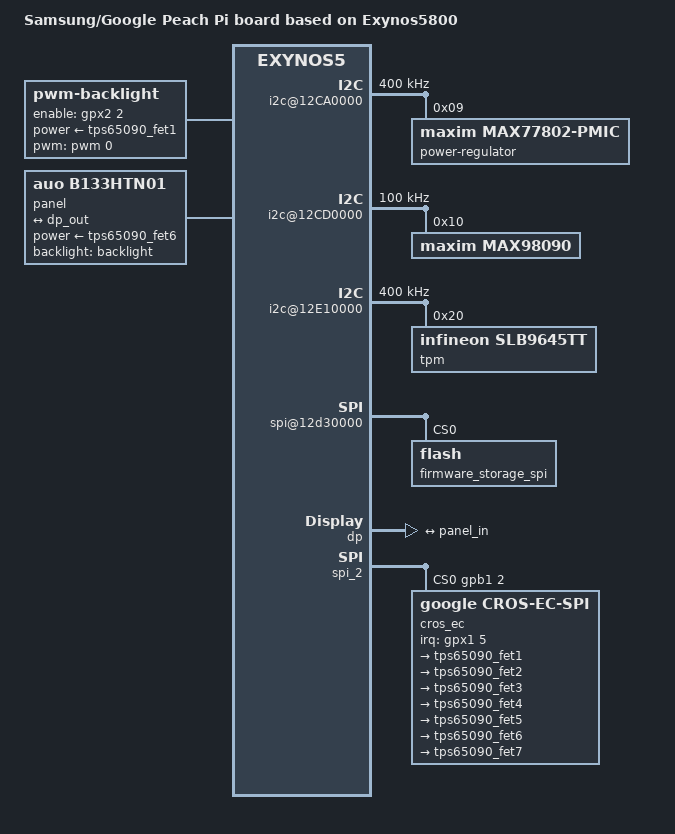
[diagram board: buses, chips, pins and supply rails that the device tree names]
// SPDX-License-Identifier: GPL-2.0+
/*
 * SAMSUNG/GOOGLE Peach-Pit board device tree source
 *
 * Copyright (c) 2013 Samsung Electronics Co., Ltd.
 *		http://www.samsung.com
 */

/dts-v1/;
#include "exynos54xx.dtsi"

/ {
	model = "Samsung/Google Peach Pi board based on Exynos5800";
	cpu-model = "Exynos5800";

	compatible = "google,pit-rev#", "google,pit",
		"google,peach", "samsung,exynos5800", "samsung,exynos5";

	config {
		google,bad-wake-gpios = <&gpx0 6 GPIO_ACTIVE_HIGH>;
		hwid = "PIT TEST A-A 7848";
		lazy-init = <1>;
	};

	aliases {
		serial0 = "/serial@12C30000";
		console = "/serial@12C30000";
		pmic = "/i2c@12CA0000";
		i2c104 = &i2c_tunnel;
	};

	backlight: backlight {
		compatible = "pwm-backlight";
		pwms = <&pwm 0 1000000 0>;
		brightness-levels = <0 100 500 1000 1500 2000 2500 2800>;
		default-brightness-level = <7>;
		enable-gpios = <&gpx2 2 GPIO_ACTIVE_HIGH>;
		power-supply = <&tps65090_fet1>;
	};

	panel: panel {
		compatible = "auo,b133htn01";
		power-supply = <&tps65090_fet6>;
		backlight = <&backlight>;

		port {
			panel_in: endpoint {
				remote-endpoint = <&dp_out>;
			};
		};
	};

	dmc {
		mem-manuf = "samsung";
		mem-type = "ddr3";
		clock-frequency = <800000000>;
		arm-frequency = <900000000>;
	};

	tmu@10060000 {
		samsung,min-temp	= <25>;
		samsung,max-temp	= <125>;
		samsung,start-warning	= <95>;
		samsung,start-tripping	= <105>;
		samsung,hw-tripping	= <110>;
		samsung,efuse-min-value	= <40>;
		samsung,efuse-value	= <55>;
		samsung,efuse-max-value	= <100>;
		samsung,slope		= <274761730>;
		samsung,dc-value	= <25>;
	};

	/* MAX77802 is on i2c bus 4 */
	i2c@12CA0000 {
		clock-frequency = <400000>;
		power-regulator@9 {
			compatible = "maxim,max77802-pmic";
			reg = <0x9>;
		};
	};

	sound {
		compatible = "google,peach-audio-max98090";

		samsung,model = "PEACH-I2S-MAX98090";
		samsung,audio-codec = <&max98090>;

		cpu {
			sound-dai = <&i2s0 0>;
		};

		codec {
			sound-dai = <&max98090 0>;
		};
	};

	i2c@12CD0000 { /* i2c7 */
		clock-frequency = <100000>;
		max98090: soundcodec@10 {
			reg = <0x10>;
			compatible = "maxim,max98090";
			#sound-dai-cells = <1>;
		};
	};

        sound@3830000 {
                samsung,codec-type = "max98090";
        };

	i2c@12E10000 { /* i2c9 */
		clock-frequency = <400000>;
		tpm@20 {
			compatible = "infineon,slb9645tt";
			reg = <0x20>;
		};
	};

	spi@12d30000 { /* spi1 */
		spi-max-frequency = <50000000>;
		firmware_storage_spi: flash@0 {
			reg = <0>;

			/*
			 * A region for the kernel to store a panic event
			 * which the firmware will add to the log.
			*/
			elog-panic-event-offset = <0x01e00000 0x100000>;

			elog-shrink-size = <0x400>;
			elog-full-threshold = <0xc00>;
		};
	};

	xhci@12000000 {
		samsung,vbus-gpio = <&gph0 0 GPIO_ACTIVE_HIGH>;
	};

	xhci@12400000 {
		samsung,vbus-gpio = <&gph0 1 GPIO_ACTIVE_HIGH>;
	};

	fimd@14400000 {
		samsung,vl-freq = <60>;
		samsung,vl-col = <1920>;
		samsung,vl-row = <1080>;
		samsung,vl-width = <1920>;
		samsung,vl-height = <1080>;

		samsung,vl-clkp;
		samsung,vl-dp;
		samsung,vl-bpix = <4>;

		samsung,vl-hspw = <80>;
		samsung,vl-hbpd = <172>;
		samsung,vl-hfpd = <60>;
		samsung,vl-vspw = <10>;
		samsung,vl-vbpd = <25>;
		samsung,vl-vfpd = <10>;
		samsung,vl-cmd-allow-len = <0xf>;

		samsung,power-on-delay = <30000>;
		samsung,winid = <3>;
		samsung,interface-mode = <1>;
		samsung,dp-enabled = <1>;
		samsung,dual-lcd-enabled = <0>;

		samsung,bl-en-gpio = <&gpx2 2 GPIO_ACTIVE_HIGH>;
	};
};

&dp {
	status = "okay";
	samsung,color-space = <0>;
	samsung,dynamic-range = <0>;
	samsung,ycbcr-coeff = <0>;
	samsung,color-depth = <1>;
	samsung,link-rate = <0x0a>;
	samsung,lane-count = <2>;
	samsung,hpd-gpio = <&gpx2 6 GPIO_ACTIVE_HIGH>;

	ports {
		port {
			dp_out: endpoint {
				remote-endpoint = <&panel_in>;
			};
		};
	};
};

&spi_2 {
	spi-max-frequency = <3125000>;
	spi-deactivate-delay = <200>;
	status = "okay";
	num-cs = <1>;
	samsung,spi-src-clk = <0>;
	cs-gpios = <&gpb1 2 0>;

	cros_ec: cros-ec@0 {
		compatible = "google,cros-ec-spi";
		interrupt-parent = <&gpx1>;
		interrupts = <5 0>;
		reg = <0>;
		spi-half-duplex;
		spi-max-timeout-ms = <1100>;
		ec-interrupt = <&gpx1 5 GPIO_ACTIVE_LOW>;

		/*
		 * This describes the flash memory within the EC. Note
		 * that the STM32L flash erases to 0, not 0xff.
		 */
		#address-cells = <1>;
		#size-cells = <1>;
		flash@8000000 {
			reg = <0x08000000 0x20000>;
			erase-value = <0>;
		};

		controller-data {
			samsung,spi-feedback-delay = <1>;
		};

		i2c_tunnel: i2c-tunnel {
			compatible = "google,cros-ec-i2c-tunnel";
			#address-cells = <1>;
			#size-cells = <0>;
			google,remote-bus = <0>;

			battery: sbs-battery@b {
				compatible = "sbs,sbs-battery";
				reg = <0xb>;
				sbs,poll-retry-count = <1>;
				sbs,i2c-retry-count = <2>;
			};

			power-regulator@48 {
				compatible = "ti,tps65090";
				reg = <0x48>;

				regulators {
					tps65090_dcdc1: dcdc1 {
						ti,enable-ext-control;
					};
					tps65090_dcdc2: dcdc2 {
						ti,enable-ext-control;
					};
					tps65090_dcdc3: dcdc3 {
						ti,enable-ext-control;
					};
					tps65090_fet1: fet1 {
						regulator-name = "vcd_led";
					};
					tps65090_fet2: fet2 {
						regulator-name = "video_mid";
						regulator-always-on;
					};
					tps65090_fet3: fet3 {
						regulator-name = "wwan_r";
						regulator-always-on;
					};
					tps65090_fet4: fet4 {
						regulator-name = "sdcard";
						regulator-always-on;
					};
					tps65090_fet5: fet5 {
						regulator-name = "camout";
						regulator-always-on;
					};
					tps65090_fet6: fet6 {
						regulator-name = "lcd_vdd";
					};
					tps65090_fet7: fet7 {
						regulator-name = "video_mid_1a";
						regulator-always-on;
					};
					tps65090_ldo1: ldo1 {
					};
					tps65090_ldo2: ldo2 {
					};
				};

				charger {
					compatible = "ti,tps65090-charger";
				};
			};
		};
	};
};

#include "cros-ec-keyboard.dtsi"
